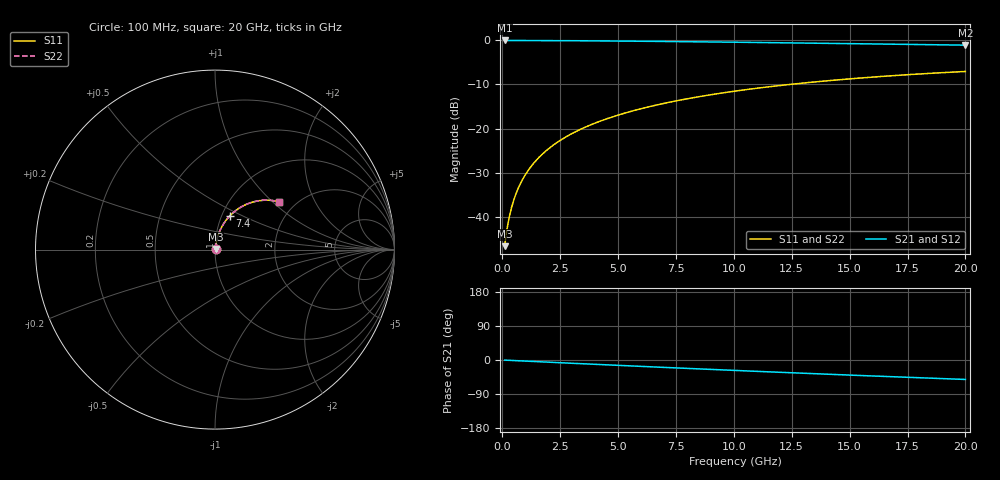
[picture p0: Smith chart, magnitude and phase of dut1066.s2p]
! Touchstone file exported from HFSS 2026.1.0
!  File:  C:/ffzhzh/LocalFiles/Ansys_Project_Files/temp_train_TMRDL_1066_1783160647_22436.aedt
!  Generated:  06:25:32 PM Jul  4, 2026
!  Design:  TMRDL
!  Project:  temp_train_TMRDL_1066_1783160647_22436
! Variables:
!  h_bsmrdl = 2um
!  h_ox = 20um
!  h_rdl = 5um
!  h_sub = 80um
!  h_tmrdl = 5.64um
!  h_tsv = 80um
!  h_via = 3um
!  l_bsmrdl = 300um
!  l_sub = 1203.97um
!  l_tmrdl = 803.97um
!  m_sub = 200um
!  pitch = 39.43um
!  r_tsv = 6um
!  s_tmrdl = 10um
!  w_bsmrdl = 18um
!  w_sub = 500um
!  w_tmrdl = 15.14um
!  x_tsv_center1 = 811.54um
!  x_tsv_center2 = 1129.54um
!  x_tsv_center3 = 1948.65um
!  x_tsv_center4 = 2266.65um
!  x_tsv_center5 = 3085.76um
!  x_tsv_center6 = 3403.76um
# GHz S MA R 50.000000
! Terminal data exported
! Port[1] = TM_RDL1_1_T1
! Port[2] = TM_RDL1_1_T2
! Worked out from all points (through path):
!   200 points, 100 MHz to 20 GHz, reference 50 ohm
!   highest |S21| = -0.03 dB at 100 MHz (marker M1); lowest = -1.1 dB at 20 GHz (marker M2)
!   group delay of S21, straight-line fit = 7.12 ps
!   lowest |S11| = -46.6 dB at 100 MHz (marker M3), VSWR 1.01, Z = 50.3 + j0.317 ohm
!   |S11| at or under -10 dB: start of sweep to 12.4 GHz
!   |S22| runs from -46.6 to -7.1 dB; largest |S21 - S12| = 1.5e-14
!   S11 on the Smith chart (normalised r, x): 100 MHz: 1.01, +0.01; 7.4 GHz: 1.09, +0.42; 20 GHz: 1.65, +1.10
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0.1  0.004659 42.5  0.9966 -0.3  0.9966 -0.3  0.004659 42.5
! Gamma 0 0 0 0
! Port Impedance 50 0 50 0
0.2  0.007188 59.7  0.9964 -0.6  0.9964 -0.6  0.007188 59.7
0.3  0.009959 67.3  0.9963 -0.9  0.9963 -0.9  0.009959 67.3
0.4  0.01279 71.5  0.9961 -1.2  0.9961 -1.2  0.01279 71.5
0.5  0.01565 74.1  0.996 -1.5  0.996 -1.5  0.01565 74.1
0.6  0.01853 75.9  0.9959 -1.8  0.9959 -1.8  0.01853 75.9
0.8  0.02433 77.9  0.9956 -2.3  0.9956 -2.3  0.02433 77.9
1.1  0.03307 79.3  0.9952 -3.2  0.9952 -3.2  0.03307 79.3
1.5  0.04472 79.7  0.9944 -4.3  0.9944 -4.3  0.04472 79.7
1.8  0.05342 79.5  0.9937 -5.2  0.9937 -5.2  0.05342 79.5
2.1  0.06207 79.1  0.9929 -6.1  0.9929 -6.1  0.06207 79.1
2.7  0.07919 78.0  0.991 -7.8  0.991 -7.8  0.07918 78.0
3.5  0.1016 76.2  0.9881 -10.0  0.9881 -10.0  0.1016 76.2
4.2  0.1207 74.5  0.9852 -12.0  0.9852 -12.0  0.1207 74.5
5  0.1421 72.5  0.9815 -14.2  0.9815 -14.2  0.1421 72.5
6.8  0.1885 67.9  0.9721 -19.0  0.9721 -19.0  0.1885 68.0
7.4  0.2035 66.4  0.9687 -20.6  0.9687 -20.6  0.2034 66.5
8.7  0.2348 63.2  0.9609 -24.1  0.9609 -24.1  0.2348 63.2
10.1  0.267 59.8  0.9518 -27.7  0.9518 -27.7  0.267 59.8
13.4  0.336 51.8  0.9288 -36.0  0.9288 -36.0  0.336 51.8
16.7  0.395 44.2  0.9049 -43.8  0.9049 -43.8  0.395 44.2
20  0.4441 36.9  0.8819 -51.3  0.8819 -51.3  0.444 37.0
